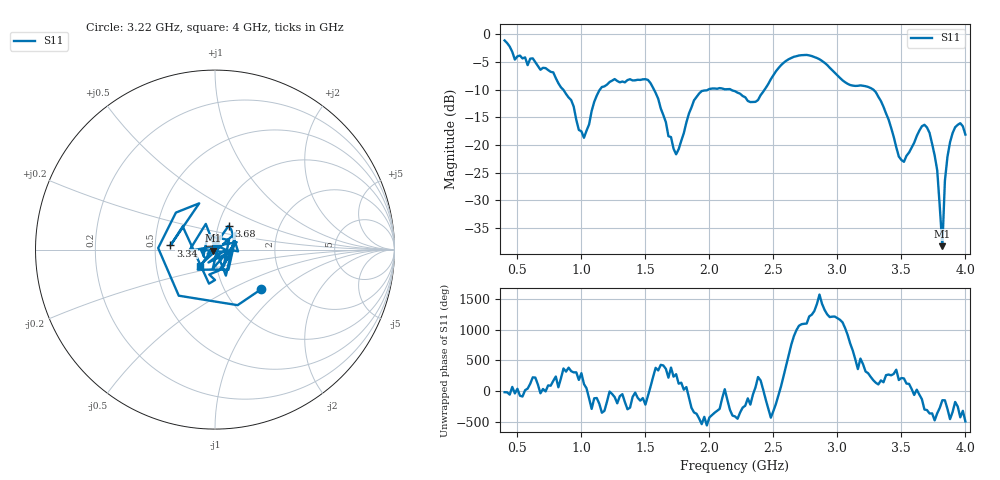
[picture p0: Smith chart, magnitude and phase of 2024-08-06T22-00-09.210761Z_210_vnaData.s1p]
!Created with skrf (http://scikit-rf.org).
# Hz S RI R 50.0
!freq ReS11 ImS11
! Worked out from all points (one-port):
!   181 points, 400 MHz to 4 GHz, reference 50 ohm
!   lowest |S11| = -38.3 dB at 3.82 GHz (marker M1), VSWR 1.02, Z = 49 - j0.623 ohm
!   |S11| at or under -10 dB: 857.6 MHz to 1.145 GHz (287.2 MHz wide, 28.7 % of centre); 1.567 GHz to 1.991 GHz (424.2 MHz wide, 23.8 % of centre); 3.281 GHz to end of sweep (the widest 3 of 4)
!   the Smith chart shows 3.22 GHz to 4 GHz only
!   S11 on the Smith chart (normalised r, x): 3.22 GHz: 1.48, -0.73; 3.34 GHz: 0.60, +0.03; 3.68 GHz: 1.12, +0.30; 4 GHz: 0.83, -0.15
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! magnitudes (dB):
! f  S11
! 400 MHz  -1.1
! 480 MHz  -4.6
! 620 MHz  -4.4
! 860 MHz  -10.1
! 1.02 GHz  -18.7
! 1.14 GHz  -10.1
! 1.3 GHz  -8.7
! 1.52 GHz  -8.3
! 1.72 GHz  -20.7
! 1.76 GHz  -20.8
! 1.92 GHz  -10.7
! 2.2 GHz  -10.3
! 2.36 GHz  -12.2
! 2.66 GHz  -4.1
! 2.86 GHz  -4.5
! 3.1 GHz  -9.2
! 3.22 GHz  -9.4
! 3.34 GHz  -12.1
! 3.48 GHz  -22.1
! 3.56 GHz  -21.4
! 3.68 GHz  -16.4
! 3.72 GHz  -17.8
! 3.78 GHz  -24.6
! 3.82 GHz  -38.3
! 3.84 GHz  -26.4
! 3.88 GHz  -19.5
! 3.96 GHz  -16.1
! 4 GHz  -18.1
